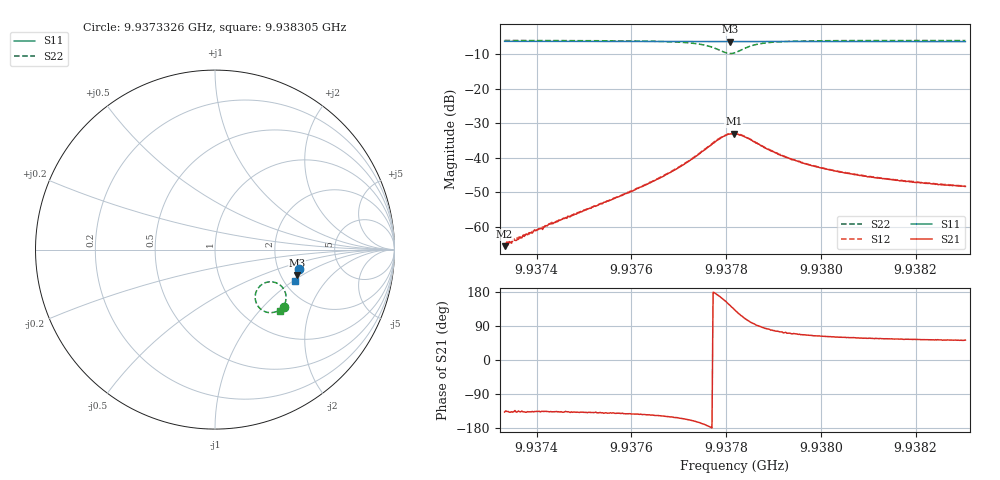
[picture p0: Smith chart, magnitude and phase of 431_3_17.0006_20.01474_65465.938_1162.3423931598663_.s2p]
#  HZ  S  RI  R  50.00
! Rohde & Schwarz Vector Network Analyzer
! Rohde-Schwarz,ZNB20-2Port,1311601062101988,3.16
! Created: UTC 3/20/2024, 11:11:22 PM
! freq[Hz]  re:S11  im:S11  re:S21  im:S21  re:S12  im:S12  re:S22  im:S22
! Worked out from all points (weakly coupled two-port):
!   401 points, 9.9373326 GHz to 9.938305 GHz, reference 50 ohm
!   highest |S21| = -33.03 dB at 9.9378164 GHz (marker M1); lowest = -65.6 dB at 9.9373326 GHz (marker M2)
!   lowest |S11| = -6.4 dB at 9.9378091 GHz (marker M3), VSWR 2.84, Z = 123 - j44.8 ohm
!   |S11| at or under -10 dB: nowhere
!   |S22| runs from -9.8 to -6.1 dB; largest |S21 - S12| = 0.001
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9.93733262e9  0.4707 -0.1107  -0.000386 -0.000356  -0.000433 -0.000377  0.3822 -0.319
9.93734477e9  0.4704 -0.1116  -0.000439 -0.0004  -0.000446 -0.000389  0.3811 -0.3197
9.93735692e9  0.47 -0.1122  -0.000467 -0.000429  -0.000498 -0.00047  0.3801 -0.3207
9.93740068e9  0.4691 -0.115  -0.000644 -0.000632  -0.000657 -0.000615  0.3768 -0.3239
9.93741284e9  0.4688 -0.116  -0.000655 -0.000641  -0.000727 -0.000675  0.3754 -0.325
9.93742742e9  0.4686 -0.117  -0.000803 -0.000754  -0.000829 -0.00073  0.3739 -0.3259
9.93749549e9  0.4671 -0.1216  -0.00121 -0.00111  -0.00123 -0.00108  0.3669 -0.3317
9.93759759e9  0.4647 -0.1285  -0.00252 -0.00199  -0.00261 -0.00198  0.3505 -0.3416
9.93765836e9  0.4633 -0.1325  -0.00419 -0.00275  -0.00433 -0.00272  0.3333 -0.3484
9.93770698e9  0.4617 -0.1357  -0.00695 -0.00334  -0.00712 -0.0033  0.3086 -0.3514
9.9377556e9  0.4598 -0.139  -0.0129 -0.00211  -0.0133 -0.00203  0.2605 -0.3359
9.9377872e9  0.4584 -0.1405  -0.0184 0.0042  -0.0188 0.00471  0.2245 -0.278
9.93780908e9  0.4576 -0.1407  -0.0177 0.0132  -0.0176 0.014  0.2445 -0.2096
9.93781637e9  0.4577 -0.141  -0.0156 0.016  -0.0154 0.0166  0.2646 -0.1922
9.9378188e9  0.4578 -0.1409  -0.0147 0.0166  -0.0145 0.0174  0.2722 -0.1881
9.93783582e9  0.4582 -0.1416  -0.00816 0.0189  -0.00772 0.0194  0.3266 -0.181
9.93786985e9  0.4582 -0.144  8.35e-05 0.0157  0.000536 0.0156  0.3842 -0.2224
9.93791604e9  0.4576 -0.1475  0.00292 0.0104  0.0032 0.0107  0.3959 -0.2679
9.93798168e9  0.4561 -0.1521  0.00328 0.0069  0.00344 0.00698  0.3904 -0.2985
9.93804488e9  0.4545 -0.1564  0.00309 0.00533  0.00322 0.00534  0.3829 -0.3136
9.93814455e9  0.4517 -0.1629  0.00274 0.00401  0.00281 0.00402  0.3732 -0.3279
9.938305e9  0.4473 -0.1732  0.00234 0.00305  0.00243 0.00301  0.3605 -0.3422
